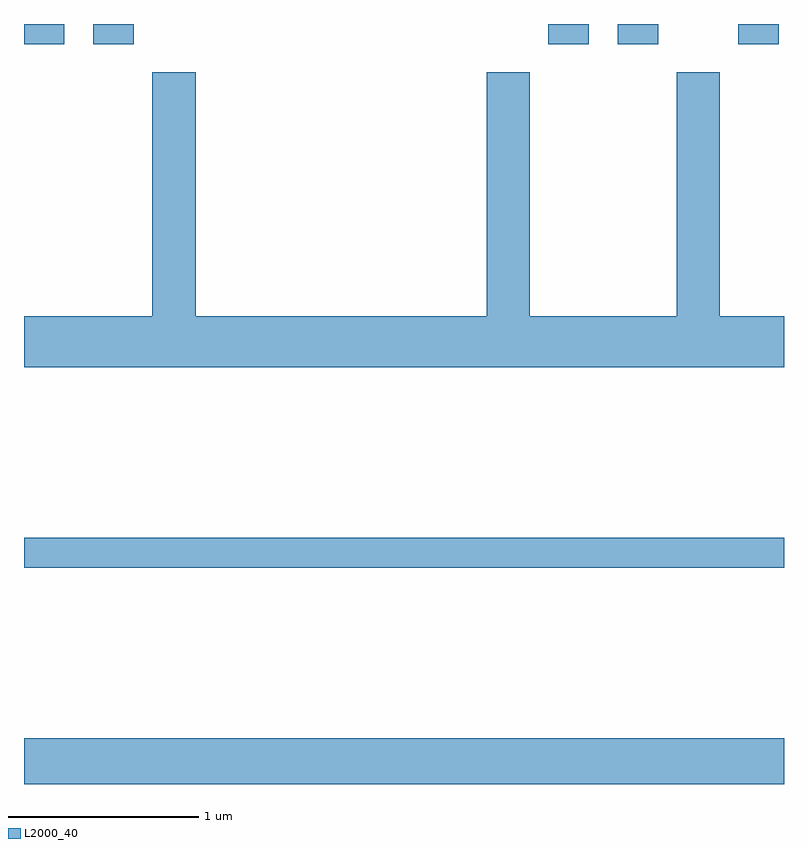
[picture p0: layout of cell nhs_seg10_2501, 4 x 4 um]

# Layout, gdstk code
import gdstk
lib = gdstk.Library(unit=1e-6, precision=1e-09)
def R(c, l, rs):  # rectangles x0, y0, x1, y1
    for r in rs: c.add(gdstk.rectangle(r[:2], r[2:], *l))
def P(c, l, *ps):  # polygons
    for p in ps: c.add(gdstk.Polygon(p, *l))
L2000_40 = (2000, 40)

nhs_seg10_2501 = lib.new_cell('nhs_seg10_2501')
R(nhs_seg10_2501, L2000_40, [(257.611,2200.522,261.611,2200.764), (257.611,2201.661,261.611,2201.819), (257.611,2204.416,257.824,2204.522), (257.976,2204.416,258.189,2204.522), (260.371,2204.416,260.584,2204.522), (260.736,2204.416,260.949,2204.522), (261.371,2204.416,261.584,2204.522)])
P(nhs_seg10_2501, L2000_40, [(261.611,2202.984),(261.274,2202.984),(261.274,2204.269),(261.046,2204.269),(261.046,2202.984),(260.274,2202.984),(260.274,2204.269),(260.046,2204.269),(260.046,2202.984),(258.514,2202.984),(258.514,2204.269),(258.286,2204.269),(258.286,2202.984),(257.611,2202.984),(257.611,2202.716),(261.611,2202.716)])

lib.write_gds('nhs_seg10_2501.gds')
